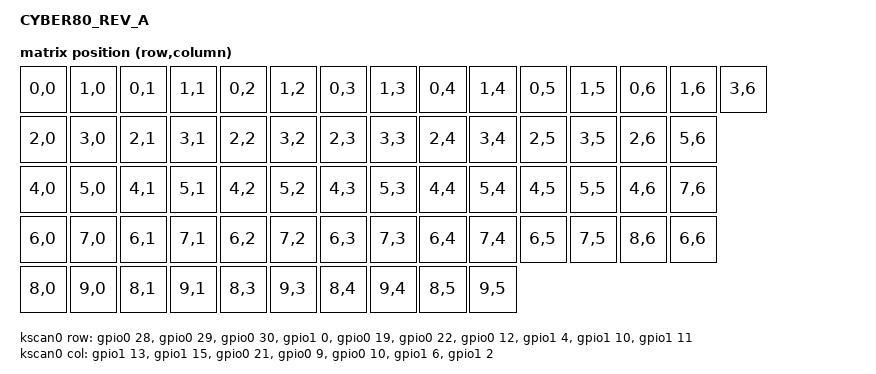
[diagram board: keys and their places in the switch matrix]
/*
 * Copyright (c) 2020 Stefan Sundin (4pplet)
 *
 * SPDX-License-Identifier: MIT
 */

/dts-v1/;
#include <nordic/nrf52840_qiaa.dtsi>
#include <dt-bindings/zmk/matrix_transform.h>
#include <dt-bindings/led/led.h>
/ {
	model = "CYBER80_REV_A";
	compatible = "cyber80", "Rev_A";

	chosen {
		zephyr,code-partition = &code_partition;
		zephyr,sram = &sram0;
		zephyr,flash = &flash0;
		zmk,kscan = &kscan0;
        zmk,matrix_transform = &default_transform;
		zmk,battery = &vbatt;
		zephyr,console = &cdc_acm_uart;
	};

	vbatt: vbatt {
        compatible = "zmk,battery-nrf-vddh";
    };

	leds { //update
			compatible = "gpio-leds";
			led_0: led_green { // P0.05
				gpios = <&gpio0 5 GPIO_ACTIVE_LOW>;
				label = "Green LED";
				status = "okay";
			};
			led_1: led_red { // P0.07
				gpios = <&gpio0 7 GPIO_ACTIVE_LOW>;
				label = "Red LED";
				status = "okay";
			};
			led_2: led_blue { // P1.09
				gpios = <&gpio1 9 GPIO_ACTIVE_LOW>;
				label = "Blue LED";
				status = "okay";
			};
		};

	// These aliases are provided for compatibility with samples
	aliases { //update
		ledgreen = &led_0;
		ledred   = &led_1;
		ledblue  = &led_2;
	};

	default_transform: keymap_transform_0 { //update
		compatible = "zmk,matrix-transform";
		columns = <7>;
		rows = <10>;
		map = <
			RC(0,0) RC(1,0) RC(0,1) RC(1,1) RC(0,2) RC(1,2) RC(0,3) RC(1,3) RC(0,4) RC(1,4) RC(0,5) RC(1,5) RC(0,6) RC(1,6) RC(3,6)
			RC(2,0) RC(3,0) RC(2,1) RC(3,1) RC(2,2) RC(3,2) RC(2,3) RC(3,3) RC(2,4) RC(3,4) RC(2,5) RC(3,5) RC(2,6) RC(5,6)
			RC(4,0) RC(5,0) RC(4,1) RC(5,1) RC(4,2) RC(5,2) RC(4,3) RC(5,3) RC(4,4) RC(5,4) RC(4,5) RC(5,5) RC(4,6) RC(7,6)
			RC(6,0) RC(7,0) RC(6,1) RC(7,1) RC(6,2) RC(7,2) RC(6,3) RC(7,3) RC(6,4) RC(7,4) RC(6,5) RC(7,5) RC(8,6) RC(6,6) 
			RC(8,0) RC(9,0) RC(8,1) RC(9,1) RC(8,3) RC(9,3) RC(8,4) RC(9,4) RC(8,5) RC(9,5) 

		>;
	};

	kscan0: kscan { //update
		compatible = "zmk,kscan-gpio-matrix";
		label = "KSCAN";

		diode-direction = "col2row";
		row-gpios
			= <&gpio0 28  (GPIO_ACTIVE_HIGH | GPIO_PULL_DOWN)>
			, <&gpio0 29 (GPIO_ACTIVE_HIGH | GPIO_PULL_DOWN)>
			, <&gpio0 30 (GPIO_ACTIVE_HIGH | GPIO_PULL_DOWN)>
			, <&gpio1 0 (GPIO_ACTIVE_HIGH | GPIO_PULL_DOWN)>
			, <&gpio0 19 (GPIO_ACTIVE_HIGH | GPIO_PULL_DOWN)>
			, <&gpio0 22 (GPIO_ACTIVE_HIGH | GPIO_PULL_DOWN)>
			, <&gpio0 12 (GPIO_ACTIVE_HIGH | GPIO_PULL_DOWN)>
			, <&gpio1 4 (GPIO_ACTIVE_HIGH | GPIO_PULL_DOWN)>
			, <&gpio1 10 (GPIO_ACTIVE_HIGH | GPIO_PULL_DOWN)>
			, <&gpio1 11 (GPIO_ACTIVE_HIGH | GPIO_PULL_DOWN)>
			;
		col-gpios
			= <&gpio1 13  GPIO_ACTIVE_HIGH>
			, <&gpio1 15  GPIO_ACTIVE_HIGH>
			, <&gpio0 21  GPIO_ACTIVE_HIGH>
			, <&gpio0 9 GPIO_ACTIVE_HIGH>
			, <&gpio0 10 GPIO_ACTIVE_HIGH>
			, <&gpio1 6  GPIO_ACTIVE_HIGH>
			, <&gpio1 2 GPIO_ACTIVE_HIGH>
			;
	};
};

&gpio0 {
	status = "okay";
};

&gpio1 {
	status = "okay";
};

&adc {
	status = "okay";
};


&usbd {
    status = "okay";
    cdc_acm_uart: cdc_acm_uart {
        compatible = "zephyr,cdc-acm-uart";
        label = "CDC_ACM_0";
    };
};

&flash0 {
	/*
	 * For more information, see:
	 * http://docs.zephyrproject.org/latest/devices/dts/flash_partitions.html
	 */
	partitions {
		compatible = "fixed-partitions";
		#address-cells = <1>;
		#size-cells = <1>;

		sd_partition: partition@0 {
			label = "softdevice";
			reg = <0x00000000 0x00026000>;
		};
		code_partition: partition@26000 {
			label = "code_partition";
			reg = <0x00026000 0x000c6000>;
		};

		/*
		 * The flash starting at 0x000ec000 and ending at
		 * 0x000f3fff is reserved for use by the application.
		 */

		/*
		 * Storage partition will be used by FCB/LittleFS/NVS
		 * if enabled.
		 */
		storage_partition: partition@ec000 {
			label = "storage";
			reg = <0x000ec000 0x00008000>;
		};

		boot_partition: partition@f4000 {
			label = "adafruit_boot";
			reg = <0x000f4000 0x0000c000>;
		};
	};
};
